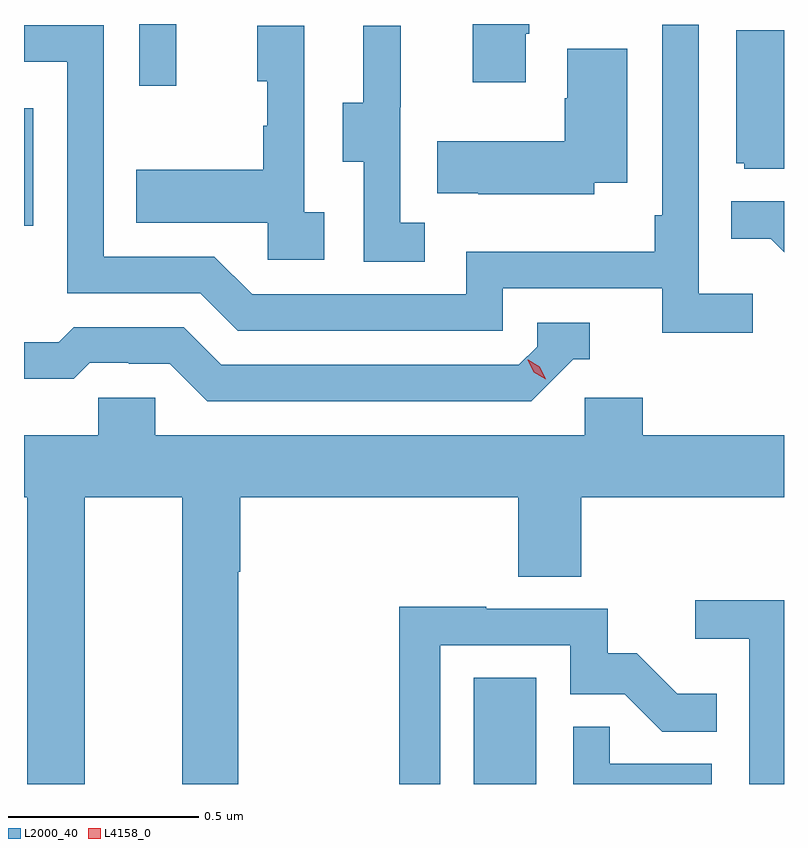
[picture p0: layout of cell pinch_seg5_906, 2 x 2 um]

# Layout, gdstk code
import gdstk
lib = gdstk.Library(unit=1e-6, precision=1e-09)
def R(c, l, rs):  # rectangles x0, y0, x1, y1
    for r in rs: c.add(gdstk.rectangle(r[:2], r[2:], *l))
def P(c, l, *ps):  # polygons
    for p in ps: c.add(gdstk.Polygon(p, *l))
L2000_40 = (2000, 40)
L4158_0 = (4158, 0)

pinch_seg5_906 = lib.new_cell('pinch_seg5_906')
R(pinch_seg5_906, L2000_40, [(879.494,875.986,879.658,876.265), (878.31,877.455,878.334,877.764), (878.613,877.824,878.711,877.986)])
P(pinch_seg5_906, L2000_40, [(879.631,877.961),(879.639,877.961),(879.639,877.986),(879.491,877.986),(879.491,877.833),(879.631,877.833)],
  [(880.228,877.276),(880.086,877.276),(880.086,877.984),(879.99,877.984),(879.99,877.483),(879.97,877.483),(879.97,877.387),(879.474,877.387),(879.474,877.275),(878.91,877.275),(878.811,877.374),(878.52,877.374),(878.52,877.983),(878.311,877.983),(878.311,877.887),(878.424,877.887),(878.424,877.278),(878.774,877.278),(878.873,877.179),(879.57,877.179),(879.57,877.29),(879.989,877.29),(879.989,877.174),(880.228,877.174)],
  [(879.364,877.463),(879.3,877.463),(879.3,877.767),(879.302,877.767),(879.302,877.981),(879.203,877.981),(879.203,877.779),(879.149,877.779),(879.149,877.624),(879.204,877.624),(879.204,877.36),(879.364,877.36)],
  [(879.1,877.49),(879.048,877.49),(879.048,877.981),(878.924,877.981),(878.924,877.836),(878.95,877.836),(878.95,877.718),(878.94,877.718),(878.94,877.603),(878.605,877.603),(878.605,877.463),(878.952,877.463),(878.952,877.365),(879.1,877.365)],
  [(880.31,877.969),(880.184,877.969),(880.184,877.62),(880.206,877.62),(880.206,877.605),(880.31,877.605)],
  [(879.811,877.568),(879.898,877.568),(879.898,877.921),(879.74,877.921),(879.74,877.791),(879.733,877.791),(879.733,877.678),(879.397,877.678),(879.397,877.541),(879.505,877.541),(879.505,877.538),(879.811,877.538)],
  [(880.31,877.52),(880.171,877.52),(880.171,877.421),(880.275,877.421),(880.31,877.386)],
  [(879.756,877.104),(879.799,877.104),(879.799,877.2),(879.66,877.2),(879.66,877.137),(879.612,877.089),(878.829,877.089),(878.73,877.188),(878.441,877.188),(878.402,877.149),(878.31,877.149),(878.31,877.053),(878.441,877.053),(878.483,877.095),(878.586,877.095),(878.586,877.092),(878.693,877.092),(878.792,876.993),(879.645,876.993)],
  [(878.47,876.74),(878.726,876.74),(878.726,875.986),(878.874,875.986),(878.874,876.544),(878.879,876.544),(878.879,876.74),(879.611,876.74),(879.611,876.532),(879.776,876.532),(879.776,876.74),(880.31,876.74),(880.31,876.904),(879.938,876.904),(879.938,877.002),(879.786,877.002),(879.786,876.904),(878.655,876.904),(878.655,877.002),(878.505,877.002),(878.505,876.904),(878.31,876.904),(878.31,876.74),(878.318,876.74),(878.318,875.986),(878.47,875.986)],
  [(880.31,876.47),(880.077,876.47),(880.077,876.368),(880.218,876.368),(880.218,875.986),(880.31,875.986)],
  [(879.405,876.351),(879.747,876.351),(879.747,876.222),(879.891,876.222),(879.989,876.124),(880.133,876.124),(880.133,876.223),(880.029,876.223),(879.922,876.33),(879.846,876.33),(879.846,876.447),(879.527,876.447),(879.527,876.452),(879.297,876.452),(879.297,875.986),(879.405,875.986)],
  [(880.12,876.039),(879.851,876.039),(879.851,876.137),(879.756,876.137),(879.756,875.986),(880.12,875.986)])
P(pinch_seg5_906, L4158_0, [(879.683,877.051),(879.652,877.07),(879.636,877.102),(879.636,877.103),(879.637,877.103),(879.667,877.084),(879.683,877.052),(879.683,877.051)])

lib.write_gds('pinch_seg5_906.gds')
